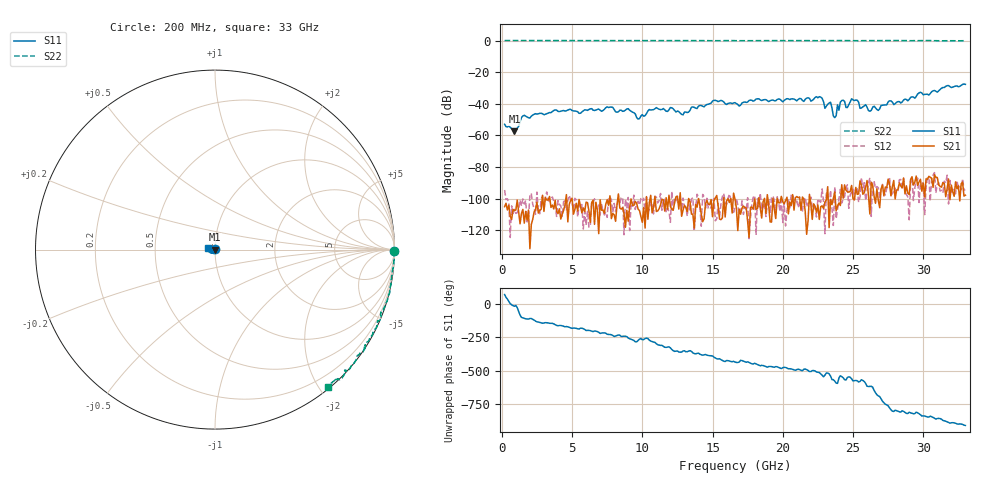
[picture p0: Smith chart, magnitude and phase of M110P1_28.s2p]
# GHZ S RI R 50
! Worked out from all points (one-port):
!   329 points, 200 MHz to 33 GHz, reference 50 ohm
!   lowest |S11| = -57.2 dB at 900 MHz (marker M1), VSWR 1.00, Z = 50.1 - j0.0463 ohm
!   |S11| at or under -10 dB: start of sweep to end of sweep
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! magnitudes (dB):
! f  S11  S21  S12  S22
! 200 MHz  -52.9  -105.0  -94.4  0.0
! 900 MHz  -57.2  -107.5  -106.7  0.0
! 1.6 GHz  -47.3  -115.4  -103.3  0.0
! 5.7 GHz  -45.1  -108.8  -103.6  0.0
! 9 GHz  -43.0  -114.2  -99.1  0.0
! 9.7 GHz  -49.6  -106.5  -101.5  0.0
! 11.2 GHz  -43.4  -106.3  -101.1  0.0
! 12.9 GHz  -46.9  -107.2  -99.5  0.0
! 15.1 GHz  -37.8  -101.1  -99.7  -0.1
! 16.6 GHz  -39.2  -100.3  -105.0  -0.1
! 22.1 GHz  -37.8  -113.0  -105.8  0.0
! 22.7 GHz  -35.7  -105.0  -102.1  0.0
! 23 GHz  -42.8  -102.1  -122.1  0.0
! 23.4 GHz  -39.0  -100.4  -94.6  -0.1
! 23.7 GHz  -48.7  -95.8  -92.7  0.0
! 23.9 GHz  -40.6  -104.7  -106.9  0.0
! 24.2 GHz  -37.9  -91.1  -102.7  0.0
! 24.6 GHz  -42.3  -95.5  -91.2  -0.1
! 25.3 GHz  -37.7  -97.2  -93.6  -0.1
! 26.2 GHz  -44.7  -109.6  -86.7  0.0
! 27.6 GHz  -38.1  -90.6  -86.5  0.0
! 33 GHz  -27.7  -97.7  -94.3  -0.1
